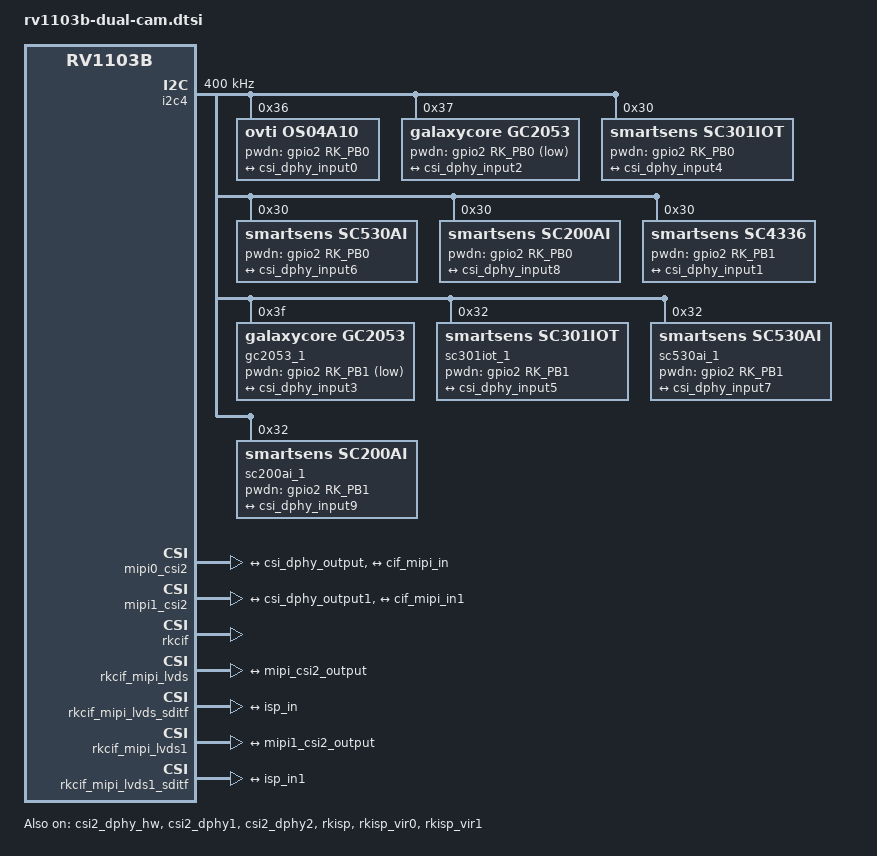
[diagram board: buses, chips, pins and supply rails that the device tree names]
// SPDX-License-Identifier: (GPL-2.0+ OR MIT)
/*
 * Copyright (c) 2026 Rockchip Electronics Co., Ltd.
 *
 * Version  Sensor  I2C_ADDR   Lanes
 * v1.0.0   os04a10   0x36    lane0~1(dphy1)
 *          sc4336    0x30    lane2~3(dphy2)
 * v1.1.0   gc2053    0x37    lane0~1(dphy1)
 *          gc2053    0x3f    lane2~3(dphy2)
 * v1.2.0   sc301iot  0x30    lane0~1(dphy1)
 *          sc301iot  0x32    lane2~3(dphy2)
 */

&csi2_dphy_hw {
	status = "okay";
};

&csi2_dphy1 {
	status = "okay";

	ports {
		#address-cells = <1>;
		#size-cells = <0>;

		port@0 {
			reg = <0>;
			#address-cells = <1>;
			#size-cells = <0>;

			csi_dphy_input0: endpoint@1 {
				reg = <1>;
				remote-endpoint = <&os04a10_out>;
				data-lanes = <1 2>;
			};

			csi_dphy_input2: endpoint@2 {
				reg = <2>;
				remote-endpoint = <&gc2053_out>;
				data-lanes = <1 2>;
			};

			csi_dphy_input4: endpoint@3 {
				reg = <3>;
				remote-endpoint = <&sc301iot_out>;
				data-lanes = <1 2>;
			};

			csi_dphy_input6: endpoint@4 {
				reg = <4>;
				remote-endpoint = <&sc530ai_out>;
				data-lanes = <1 2>;
			};

			csi_dphy_input8: endpoint@5 {
				reg = <5>;
				remote-endpoint = <&sc200ai_out>;
				data-lanes = <1 2>;
			};
		};

		port@1 {
			reg = <1>;
			#address-cells = <1>;
			#size-cells = <0>;

			csi_dphy_output: endpoint@0 {
				reg = <0>;
				remote-endpoint = <&mipi_csi2_input>;
			};
		};
	};
};

&csi2_dphy2 {
	status = "okay";

	ports {
		#address-cells = <1>;
		#size-cells = <0>;

		port@0 {
			reg = <0>;
			#address-cells = <1>;
			#size-cells = <0>;

			csi_dphy_input1: endpoint@1 {
				reg = <1>;
				remote-endpoint = <&sc3336_out>;
				data-lanes = <1 2>;
			};

			csi_dphy_input3: endpoint@2 {
				reg = <2>;
				remote-endpoint = <&gc2053_1_out>;
				data-lanes = <1 2>;
			};

			csi_dphy_input5: endpoint@3 {
				reg = <3>;
				remote-endpoint = <&sc301iot_1_out>;
				data-lanes = <1 2>;
			};

			csi_dphy_input7: endpoint@4 {
				reg = <4>;
				remote-endpoint = <&sc530ai_1_out>;
				data-lanes = <1 2>;
			};

			csi_dphy_input9: endpoint@5 {
				reg = <5>;
				remote-endpoint = <&sc200ai_1_out>;
				data-lanes = <1 2>;
			};
		};

		port@1 {
			reg = <1>;
			#address-cells = <1>;
			#size-cells = <0>;

			csi_dphy_output1: endpoint@0 {
				reg = <0>;
				remote-endpoint = <&mipi1_csi2_input>;
			};
		};
	};
};

&i2c4 {
	status = "okay";
	clock-frequency = <400000>;
	pinctrl-names = "default";
	pinctrl-0 = <&i2c4m1_xfer_pins>;

	os04a10: os04a10@36 {
		compatible = "ovti,os04a10";
		status = "okay";
		reg = <0x36>;
		clocks = <&cru CLK_MIPI0_OUT2IO>;
		clock-names = "xvclk";
		pwdn-gpios = <&gpio2 RK_PB0 GPIO_ACTIVE_HIGH>;
		pinctrl-names = "default";
		pinctrl-0 = <&cam_clk0_pins>;
		rockchip,camera-module-index = <0>;
		rockchip,camera-module-facing = "back";
		rockchip,camera-module-name = "default";
		rockchip,camera-module-lens-name = "default";
		port {
			os04a10_out: endpoint {
				remote-endpoint = <&csi_dphy_input0>;
				data-lanes = <1 2>;
			};
		};
	};

	gc2053: gc2053@37 {
		compatible = "galaxycore,gc2053";
		status = "okay";
		reg = <0x37>;
		clocks = <&cru CLK_MIPI0_OUT2IO>;
		clock-names = "xvclk";
		pwdn-gpios = <&gpio2 RK_PB0 GPIO_ACTIVE_LOW>;
		pinctrl-names = "default";
		pinctrl-0 = <&cam_clk0_pins>;
		rockchip,camera-module-index = <0>;
		rockchip,camera-module-facing = "back";
		rockchip,camera-module-name = "default";
		rockchip,camera-module-lens-name = "default";
		port {
			gc2053_out: endpoint {
				remote-endpoint = <&csi_dphy_input2>;
				data-lanes = <1 2>;
			};
		};
	};

	sc301iot: sc301iot@30 {
		compatible = "smartsens,sc301iot";
		status = "okay";
		reg = <0x30>;
		clocks = <&cru CLK_MIPI0_OUT2IO>;
		clock-names = "xvclk";
		pwdn-gpios = <&gpio2 RK_PB0 GPIO_ACTIVE_HIGH>;
		pinctrl-names = "default";
		pinctrl-0 = <&cam_clk0_pins>;
		rockchip,camera-module-index = <0>;
		rockchip,camera-module-facing = "back";
		rockchip,camera-module-name = "default";
		rockchip,camera-module-lens-name = "default";
		port {
			sc301iot_out: endpoint {
				remote-endpoint = <&csi_dphy_input4>;
				data-lanes = <1 2>;
			};
		};
	};

	sc530ai: sc530ai@30 {
		compatible = "smartsens,sc530ai";
		status = "okay";
		reg = <0x30>;
		clocks = <&cru CLK_MIPI0_OUT2IO>;
		clock-names = "xvclk";
		pwdn-gpios = <&gpio2 RK_PB0 GPIO_ACTIVE_HIGH>;
		pinctrl-names = "default";
		pinctrl-0 = <&cam_clk0_pins>;
		rockchip,camera-module-index = <0>;
		rockchip,camera-module-facing = "back";
		rockchip,camera-module-name = "default";
		rockchip,camera-module-lens-name = "default";
		port {
			sc530ai_out: endpoint {
				remote-endpoint = <&csi_dphy_input6>;
				data-lanes = <1 2>;
			};
		};
	};

	sc200ai: sc200ai@30 {
		compatible = "smartsens,sc200ai";
		status = "okay";
		reg = <0x30>;
		clocks = <&cru CLK_MIPI0_OUT2IO>;
		clock-names = "xvclk";
		pwdn-gpios = <&gpio2 RK_PB0 GPIO_ACTIVE_HIGH>;
		pinctrl-names = "default";
		pinctrl-0 = <&cam_clk0_pins>;
		rockchip,camera-module-index = <0>;
		rockchip,camera-module-facing = "back";
		rockchip,camera-module-name = "default";
		rockchip,camera-module-lens-name = "default";
		port {
			sc200ai_out: endpoint {
				remote-endpoint = <&csi_dphy_input8>;
				data-lanes = <1 2>;
			};
		};
	};

	sc4336: sc4336@30 {
		compatible = "smartsens,sc4336";
		status = "okay";
		reg = <0x30>;
		clocks = <&cru CLK_MIPI1_OUT2IO>;
		clock-names = "xvclk";
		pwdn-gpios = <&gpio2 RK_PB1 GPIO_ACTIVE_HIGH>;
		pinctrl-names = "default";
		pinctrl-0 = <&cam_clk1_pins>;
		rockchip,camera-module-index = <1>;
		rockchip,camera-module-facing = "back";
		rockchip,camera-module-name = "default";
		rockchip,camera-module-lens-name = "default";
		port {
			sc3336_out: endpoint {
				remote-endpoint = <&csi_dphy_input1>;
				data-lanes = <1 2>;
			};
		};
	};

	gc2053_1: gc2053_1@3f {
		compatible = "galaxycore,gc2053";
		status = "okay";
		reg = <0x3f>;
		clocks = <&cru CLK_MIPI1_OUT2IO>;
		clock-names = "xvclk";
		pwdn-gpios = <&gpio2 RK_PB1 GPIO_ACTIVE_LOW>;
		pinctrl-names = "default";
		pinctrl-0 = <&cam_clk1_pins>;
		rockchip,camera-module-index = <1>;
		rockchip,camera-module-facing = "back";
		rockchip,camera-module-name = "default";
		rockchip,camera-module-lens-name = "default";
		port {
			gc2053_1_out: endpoint {
				remote-endpoint = <&csi_dphy_input3>;
				data-lanes = <1 2>;
			};
		};
	};

	sc301iot_1: sc301iot_1@32 {
		compatible = "smartsens,sc301iot";
		status = "okay";
		reg = <0x32>;
		clocks = <&cru CLK_MIPI1_OUT2IO>;
		clock-names = "xvclk";
		pwdn-gpios = <&gpio2 RK_PB1 GPIO_ACTIVE_HIGH>;
		pinctrl-names = "default";
		pinctrl-0 = <&cam_clk1_pins>;
		rockchip,camera-module-index = <1>;
		rockchip,camera-module-facing = "back";
		rockchip,camera-module-name = "default";
		rockchip,camera-module-lens-name = "default";
		port {
			sc301iot_1_out: endpoint {
				remote-endpoint = <&csi_dphy_input5>;
				data-lanes = <1 2>;
			};
		};
	};

	sc530ai_1: sc530ai_1@32 {
		compatible = "smartsens,sc530ai";
		status = "okay";
		reg = <0x32>;
		clocks = <&cru CLK_MIPI1_OUT2IO>;
		clock-names = "xvclk";
		pwdn-gpios = <&gpio2 RK_PB1 GPIO_ACTIVE_HIGH>;
		pinctrl-names = "default";
		pinctrl-0 = <&cam_clk1_pins>;
		rockchip,camera-module-index = <1>;
		rockchip,camera-module-facing = "back";
		rockchip,camera-module-name = "default";
		rockchip,camera-module-lens-name = "default";
		port {
			sc530ai_1_out: endpoint {
				remote-endpoint = <&csi_dphy_input7>;
				data-lanes = <1 2>;
			};
		};
	};

	sc200ai_1: sc200ai_1@32 {
		compatible = "smartsens,sc200ai";
		status = "okay";
		reg = <0x32>;
		clocks = <&cru CLK_MIPI1_OUT2IO>;
		clock-names = "xvclk";
		pwdn-gpios = <&gpio2 RK_PB1 GPIO_ACTIVE_HIGH>;
		pinctrl-names = "default";
		pinctrl-0 = <&cam_clk1_pins>;
		rockchip,camera-module-index = <1>;
		rockchip,camera-module-facing = "back";
		rockchip,camera-module-name = "default";
		rockchip,camera-module-lens-name = "default";
		port {
			sc200ai_1_out: endpoint {
				remote-endpoint = <&csi_dphy_input9>;
				data-lanes = <1 2>;
			};
		};
	};
};

&mipi0_csi2 {
	status = "okay";

	ports {
		#address-cells = <1>;
		#size-cells = <0>;

		port@0 {
			reg = <0>;
			#address-cells = <1>;
			#size-cells = <0>;

			mipi_csi2_input: endpoint@1 {
				reg = <1>;
				remote-endpoint = <&csi_dphy_output>;
			};
		};

		port@1 {
			reg = <1>;
			#address-cells = <1>;
			#size-cells = <0>;

			mipi_csi2_output: endpoint@0 {
				reg = <0>;
				remote-endpoint = <&cif_mipi_in>;
			};
		};
	};
};

&mipi1_csi2 {
	status = "okay";

	ports {
		#address-cells = <1>;
		#size-cells = <0>;

		port@0 {
			reg = <0>;
			#address-cells = <1>;
			#size-cells = <0>;

			mipi1_csi2_input: endpoint@1 {
				reg = <1>;
				remote-endpoint = <&csi_dphy_output1>;
			};
		};

		port@1 {
			reg = <1>;
			#address-cells = <1>;
			#size-cells = <0>;

			mipi1_csi2_output: endpoint@0 {
				reg = <0>;
				remote-endpoint = <&cif_mipi_in1>;
			};
		};
	};
};

&rkcif {
	status = "okay";
};

&rkcif_mipi_lvds {
	status = "okay";

	port {
		/* MIPI CSI-2 endpoint */
		cif_mipi_in: endpoint {
			remote-endpoint = <&mipi_csi2_output>;
		};
	};
};

&rkcif_mipi_lvds_sditf {
	status = "okay";

	port {
		/* MIPI CSI-2 endpoint */
		mipi_lvds_sditf: endpoint {
			remote-endpoint = <&isp_in>;
		};
	};
};

&rkcif_mipi_lvds1 {
	status = "okay";

	port {
		/* MIPI CSI-2 endpoint */
		cif_mipi_in1: endpoint {
			remote-endpoint = <&mipi1_csi2_output>;
		};
	};
};

&rkcif_mipi_lvds1_sditf {
	status = "okay";

	port {
		/* MIPI CSI-2 endpoint */
		mipi_lvds1_sditf: endpoint {
			remote-endpoint = <&isp_in1>;
		};
	};
};

&rkisp {
	status = "okay";
};

&rkisp_vir0 {
	status = "okay";

	port@0 {
		isp_in: endpoint {
			remote-endpoint = <&mipi_lvds_sditf>;
		};
	};
};

&rkisp_vir1 {
	status = "okay";

	port@0 {
		isp_in1: endpoint {
			remote-endpoint = <&mipi_lvds1_sditf>;
		};
	};
};
